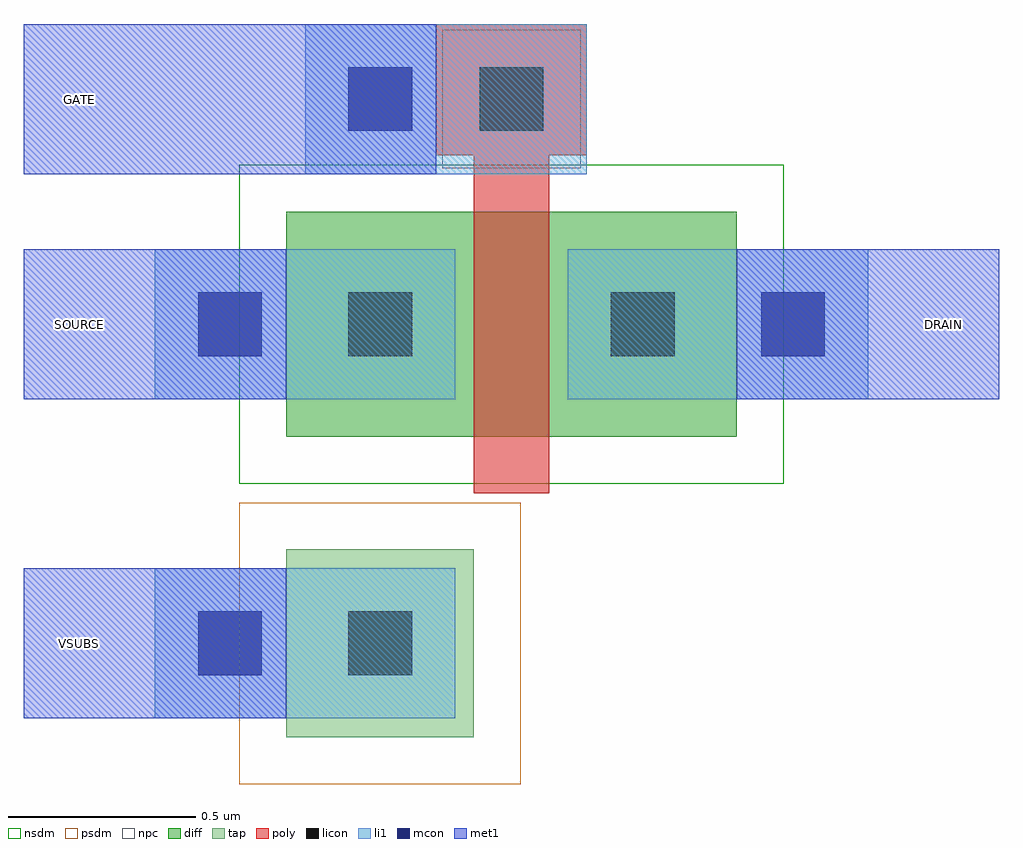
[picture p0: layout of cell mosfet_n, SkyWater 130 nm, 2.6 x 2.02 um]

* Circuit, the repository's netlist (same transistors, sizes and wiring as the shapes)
* NGSPICE file created from mosfet_n.ext - technology: sky130A

.subckt mosfet_n SOURCE GATE VSUBS DRAIN
X0 DRAIN GATE SOURCE VSUBS sky130_fd_pr__nfet_01v8 ad=0.3 pd=2.2 as=0.3 ps=2.2 w=0.6 l=0.2
.ends

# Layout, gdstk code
import gdstk
lib = gdstk.Library(unit=1e-6, precision=1e-09)
def R(c, l, rs):  # rectangles x0, y0, x1, y1
    for r in rs: c.add(gdstk.rectangle(r[:2], r[2:], *l))
diff = (65, 20)
tap = (65, 44)
poly = (66, 20)
licon = (66, 44)
li1 = (67, 20)
mcon = (67, 44)
met1 = (68, 20)
nsdm = (93, 44)
psdm = (94, 20)
npc = (95, 20)

mosfet_n = lib.new_cell('mosfet_n')
R(mosfet_n, diff, [(0,0,1.2,0.6)])
R(mosfet_n, tap, [(0,-0.8,0.5,-0.3)])
R(mosfet_n, poly, [(0.5,-0.15,0.7,0.75), (0.4,0.75,0.8,1.1)])
R(mosfet_n, licon, [(0.165,-0.635,0.335,-0.465), (0.165,0.215,0.335,0.385), (0.865,0.215,1.035,0.385), (0.515,0.815,0.685,0.985)])
R(mosfet_n, li1, [(-0.35,-0.75,0.45,-0.35), (-0.35,0.1,0.45,0.5), (0.75,0.1,1.55,0.5), (0.05,0.7,0.8,1.1)])
R(mosfet_n, mcon, [(-0.235,-0.635,-0.065,-0.465), (-0.235,0.215,-0.065,0.385), (1.265,0.215,1.435,0.385), (0.165,0.815,0.335,0.985)])
R(mosfet_n, met1, [(-0.7,-0.75,0,-0.35), (-0.7,0.1,0,0.5), (1.2,0.1,1.9,0.5), (-0.7,0.7,0.4,1.1)])
R(mosfet_n, nsdm, [(-0.125,-0.125,1.325,0.725)])
R(mosfet_n, psdm, [(-0.125,-0.925,0.625,-0.175)])
R(mosfet_n, npc, [(0.415,0.715,0.785,1.085)])
mosfet_n.add(gdstk.Label('SOURCE', (-0.55,0.3), layer=68, texttype=5))
mosfet_n.add(gdstk.Label('GATE', (-0.55,0.9), layer=68, texttype=5))
mosfet_n.add(gdstk.Label('VSUBS', (-0.55,-0.55), layer=68, texttype=5))
mosfet_n.add(gdstk.Label('DRAIN', (1.75,0.3), layer=68, texttype=5))

lib.write_gds('mosfet_n.gds')
